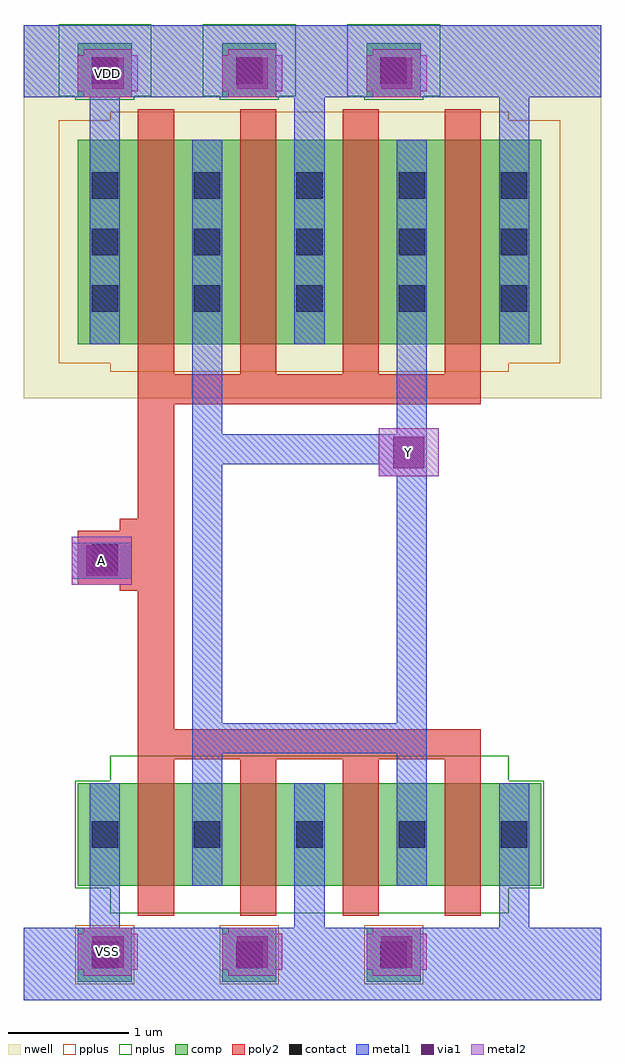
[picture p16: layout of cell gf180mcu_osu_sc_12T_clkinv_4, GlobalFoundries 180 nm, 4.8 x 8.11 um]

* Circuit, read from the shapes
.subckt gf180mcu_osu_sc_12T_clkinv_4 A VDD VSS Y
XM1 Y A VSS VSS nfet_03v3 w=0.85u l=0.3u m=4
XM2 Y A VDD VDD pfet_03v3 w=1.7u l=0.3u m=4
.ends

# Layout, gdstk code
import gdstk
lib = gdstk.Library(unit=1e-6, precision=1e-09)
def R(c, l, rs):  # rectangles x0, y0, x1, y1
    for r in rs: c.add(gdstk.rectangle(r[:2], r[2:], *l))
def A(c, l, x, y, w, h, nx, ny, dx, dy):  # array of equal rectangles
    R(c, l, [(x+i*dx, y+j*dy, x+i*dx+w, y+j*dy+h) for i in range(nx) for j in range(ny)])
nwell = (21, 0)
comp = (22, 0)
poly2 = (30, 0)
pplus = (31, 0)
nplus = (32, 0)
contact = (33, 0)
metal1 = (34, 0)
via1 = (35, 0)
metal2 = (36, 0)

gf180mcu_osu_sc_12t_clki = lib.new_cell('gf180mcu_osu_sc_12T_clkinv_4')
R(gf180mcu_osu_sc_12t_clki, nwell, [(0,5,4.8,8.1)])
A(gf180mcu_osu_sc_12t_clki, comp, 0.45, 0.15, 0.45, 0.45, 3, 2, 1.2, 7.35)
R(gf180mcu_osu_sc_12t_clki, comp, [(0.45,0.95,4.3,1.8), (0.45,5.45,4.3,7.15)])
A(gf180mcu_osu_sc_12t_clki, poly2, 0.95, 0.7, 0.3, 1.3, 4, 1, 0.85, 0)
A(gf180mcu_osu_sc_12t_clki, poly2, 0.95, 5.2, 0.3, 2.2, 4, 1, 0.85, 0)
R(gf180mcu_osu_sc_12t_clki, poly2, [(0.95,2,3.8,2.25), (0.95,2.25,1.25,3.4), (0.8,3.4,1.25,3.45), (0.45,3.45,1.25,3.9), (0.8,3.9,1.25,4), (0.95,4,1.25,4.95), (0.95,4.95,3.8,5.2)])
A(gf180mcu_osu_sc_12t_clki, pplus, 0.43, 0.13, 0.49, 0.49, 3, 1, 1.2, 0)
R(gf180mcu_osu_sc_12t_clki, pplus, [(0.72,5.22,4.03,5.29), (0.29,5.29,4.46,7.31), (0.72,7.31,4.03,7.38)])
A(gf180mcu_osu_sc_12t_clki, nplus, 0.43, 7.48, 0.49, 0.03, 3, 1, 1.2, 0)
A(gf180mcu_osu_sc_12t_clki, nplus, 0.29, 7.51, 0.77, 0.6, 3, 1, 1.2, 0)
R(gf180mcu_osu_sc_12t_clki, nplus, [(0.72,0.72,4.03,0.93), (0.43,0.93,4.32,1.82), (0.72,1.82,4.03,2.03)])
A(gf180mcu_osu_sc_12t_clki, contact, 0.565, 0.265, 0.22, 0.22, 3, 2, 1.2, 7.35)
A(gf180mcu_osu_sc_12t_clki, contact, 0.565, 1.265, 0.22, 0.22, 5, 2, 0.85, 4.455)
A(gf180mcu_osu_sc_12t_clki, contact, 0.565, 6.19, 0.22, 0.22, 5, 2, 0.85, 0.47)
R(gf180mcu_osu_sc_12t_clki, contact, [(0.565,3.565,0.785,3.785)])
A(gf180mcu_osu_sc_12t_clki, metal1, 0.55, 0.6, 0.25, 1.2, 3, 1, 1.7, 0)
A(gf180mcu_osu_sc_12t_clki, metal1, 0.55, 5.45, 0.25, 2.05, 3, 1, 1.7, 0)
R(gf180mcu_osu_sc_12t_clki, metal1, [(0,0,4.8,0.6), (1.4,0.95,1.65,2.05), (3.1,0.95,3.35,2.05), (1.4,2.05,3.35,2.3), (1.4,2.3,1.65,4.45), (3.1,2.3,3.35,4.35), (0.4,3.5,0.9,3.8), (2.95,4.35,3.35,4.45), (1.4,4.45,3.35,4.7), (1.4,4.7,1.65,7.15), (3.1,4.7,3.35,7.15), (0,7.5,4.8,8.1)])
A(gf180mcu_osu_sc_12t_clki, via1, 0.57, 0.27, 0.26, 0.26, 3, 2, 1.2, 7.3)
R(gf180mcu_osu_sc_12t_clki, via1, [(0.52,3.52,0.78,3.78), (3.07,4.42,3.33,4.68)])
A(gf180mcu_osu_sc_12t_clki, metal2, 0.5, 0.2, 0.4, 0.05, 3, 2, 1.2, 0.35)
A(gf180mcu_osu_sc_12t_clki, metal2, 0.45, 0.25, 0.5, 0.3, 3, 2, 1.2, 7.3)
A(gf180mcu_osu_sc_12t_clki, metal2, 0.5, 7.5, 0.4, 0.05, 3, 2, 1.2, 0.35)
R(gf180mcu_osu_sc_12t_clki, metal2, [(0.4,3.45,0.9,3.85), (2.95,4.35,3.45,4.75)])
gf180mcu_osu_sc_12t_clki.add(gdstk.Label('VDD', (0.7,7.7), layer=36, texttype=0))
gf180mcu_osu_sc_12t_clki.add(gdstk.Label('VSS', (0.7,0.4), layer=36, texttype=0))
gf180mcu_osu_sc_12t_clki.add(gdstk.Label('A', (0.65,3.65), layer=36, texttype=10))
gf180mcu_osu_sc_12t_clki.add(gdstk.Label('Y', (3.2,4.55), layer=36, texttype=10))

lib.write_gds('gf180mcu_osu_sc_12T_clkinv_4.gds')
